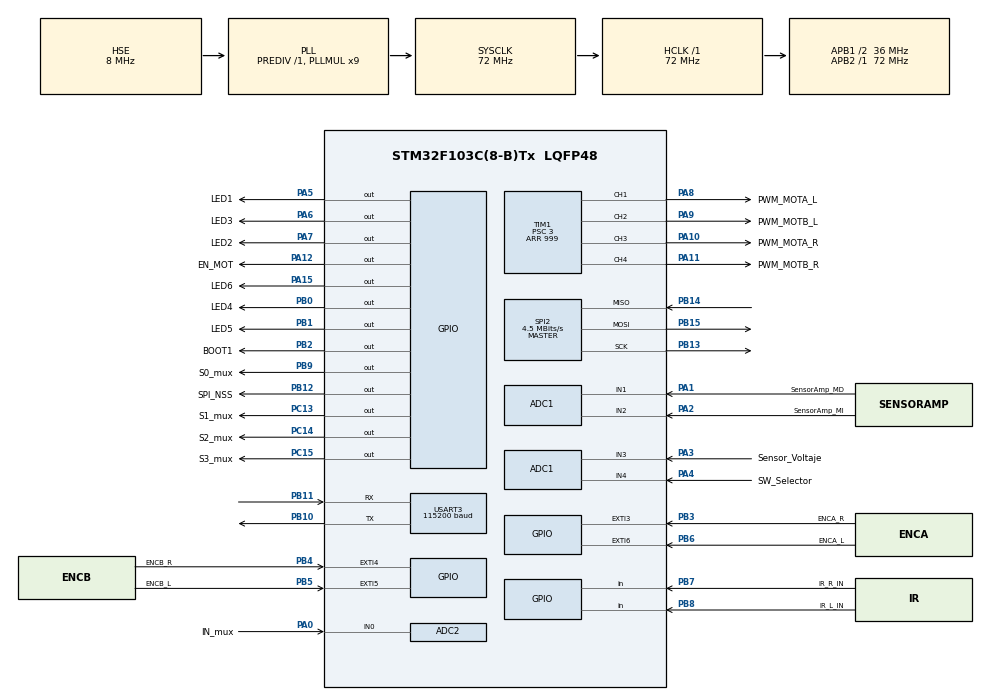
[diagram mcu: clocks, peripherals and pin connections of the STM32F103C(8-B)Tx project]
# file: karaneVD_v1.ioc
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ADC1.Channel-0\#ChannelRegularConversion=ADC_CHANNEL_1
ADC1.Channel-1\#ChannelRegularConversion=ADC_CHANNEL_2
ADC1.Channel-2\#ChannelRegularConversion=ADC_CHANNEL_3
ADC1.Channel-3\#ChannelRegularConversion=ADC_CHANNEL_4
ADC1.ContinuousConvMode=ENABLE
ADC1.ExternalTrigConv=ADC_EXTERNALTRIGCONV_T3_TRGO
ADC1.NbrOfConversion=4
ADC1.NbrOfConversionFlag=1
ADC1.Rank-0\#ChannelRegularConversion=1
ADC1.Rank-1\#ChannelRegularConversion=2
ADC1.Rank-2\#ChannelRegularConversion=3
ADC1.Rank-3\#ChannelRegularConversion=4
ADC1.SamplingTime-0\#ChannelRegularConversion=ADC_SAMPLETIME_55CYCLES_5
ADC1.SamplingTime-1\#ChannelRegularConversion=ADC_SAMPLETIME_55CYCLES_5
ADC1.SamplingTime-2\#ChannelRegularConversion=ADC_SAMPLETIME_55CYCLES_5
ADC1.SamplingTime-3\#ChannelRegularConversion=ADC_SAMPLETIME_55CYCLES_5
ADC1.master=1
ADC2.Channel-5\#ChannelRegularConversion=ADC_CHANNEL_0
ADC2.ContinuousConvMode=DISABLE
ADC2.ExternalTrigConv=ADC_SOFTWARE_START
ADC2.NbrOfConversionFlag=1
ADC2.Rank-5\#ChannelRegularConversion=1
ADC2.SamplingTime-5\#ChannelRegularConversion=ADC_SAMPLETIME_71CYCLES_5
Dma.ADC1.0.Direction=DMA_PERIPH_TO_MEMORY
Dma.ADC1.0.Instance=DMA1_Channel1
Dma.ADC1.0.MemDataAlignment=DMA_MDATAALIGN_WORD
Dma.ADC1.0.MemInc=DMA_MINC_ENABLE
Dma.ADC1.0.Mode=DMA_CIRCULAR
Dma.ADC1.0.PeriphDataAlignment=DMA_PDATAALIGN_WORD
Dma.ADC1.0.PeriphInc=DMA_PINC_DISABLE
Dma.ADC1.0.Priority=DMA_PRIORITY_LOW
Dma.Request0=ADC1
Mcu.Family=STM32F1
Mcu.Name=STM32F103C(8-B)Tx
Mcu.Package=LQFP48
NVIC.ADC1_2_IRQn=true\:3\:0\:true\:false\:true\:true\:true\:true
NVIC.DMA1_Channel1_IRQn=true\:2\:0\:true\:false\:true\:false\:true\:true
NVIC.EXTI3_IRQn=true\:0\:0\:false\:false\:true\:true\:true\:true
NVIC.EXTI4_IRQn=true\:0\:0\:false\:false\:true\:true\:true\:true
NVIC.EXTI9_5_IRQn=true\:0\:0\:false\:false\:true\:true\:true\:true
NVIC.PriorityGroup=NVIC_PRIORITYGROUP_4
NVIC.TIM3_IRQn=true\:1\:0\:true\:false\:true\:true\:true\:true
PA0-WKUP.GPIO_Label=IN_mux
PA0-WKUP.Signal=ADCx_IN0
PA1.GPIO_Label=SensorAmp_MD
PA1.Signal=ADCx_IN1
PA10.GPIO_Label=PWM_MOTA_R
PA10.Signal=S_TIM1_CH3
PA11.GPIO_Label=PWM_MOTB_R
PA11.Signal=S_TIM1_CH4
PA12.GPIO_Label=EN_MOT
PA12.Signal=GPIO_Output
PA13.Mode=Serial_Wire
PA13.Signal=SYS_JTMS-SWDIO
PA14.Mode=Serial_Wire
PA14.Signal=SYS_JTCK-SWCLK
PA15.GPIO_Label=LED6
PA15.PinState=GPIO_PIN_SET
PA15.Signal=GPIO_Output
PA2.GPIO_Label=SensorAmp_MI
PA2.Signal=ADCx_IN2
PA3.GPIO_Label=Sensor_Voltaje
PA3.Signal=ADCx_IN3
PA4.GPIO_Label=SW_Selector
PA4.Signal=ADCx_IN4
PA5.GPIO_Label=LED1
PA5.PinState=GPIO_PIN_SET
PA5.Signal=GPIO_Output
PA6.GPIO_Label=LED3
PA6.PinState=GPIO_PIN_SET
PA6.Signal=GPIO_Output
PA7.GPIO_Label=LED2
PA7.PinState=GPIO_PIN_SET
PA7.Signal=GPIO_Output
PA8.GPIO_Label=PWM_MOTA_L
PA8.Signal=S_TIM1_CH1
PA9.GPIO_Label=PWM_MOTB_L
PA9.Signal=S_TIM1_CH2
PB0.GPIO_Label=LED4
PB0.PinState=GPIO_PIN_SET
PB0.Signal=GPIO_Output
PB1.GPIO_Label=LED5
PB1.PinState=GPIO_PIN_SET
PB1.Signal=GPIO_Output
PB10.Mode=Asynchronous
PB10.Signal=USART3_TX
PB11.Mode=Asynchronous
PB11.Signal=USART3_RX
PB12.GPIO_Label=SPI_NSS
PB12.PinState=GPIO_PIN_SET
PB12.Signal=GPIO_Output
PB13.Mode=Full_Duplex_Master
PB13.Signal=SPI2_SCK
PB14.Mode=Full_Duplex_Master
PB14.Signal=SPI2_MISO
PB15.Mode=Full_Duplex_Master
PB15.Signal=SPI2_MOSI
PB2.GPIO_Label=BOOT1
PB2.Signal=GPIO_Output
PB3.GPIO_Label=ENCA_R
PB3.GPIO_ModeDefaultEXTI=GPIO_MODE_IT_RISING_FALLING
PB3.Signal=GPXTI3
PB4.GPIO_Label=ENCB_R
PB4.GPIO_ModeDefaultEXTI=GPIO_MODE_IT_RISING_FALLING
PB4.Signal=GPXTI4
PB5.GPIO_Label=ENCB_L
PB5.GPIO_ModeDefaultEXTI=GPIO_MODE_IT_RISING_FALLING
PB5.Signal=GPXTI5
PB6.GPIO_Label=ENCA_L
PB6.GPIO_ModeDefaultEXTI=GPIO_MODE_IT_RISING_FALLING
PB6.Signal=GPXTI6
PB7.GPIO_Label=IR_R_IN
PB7.Signal=GPIO_Input
PB8.GPIO_Label=IR_L_IN
PB8.Signal=GPIO_Input
PB9.GPIO_Label=S0_mux
PB9.Signal=GPIO_Output
PC13-TAMPER-RTC.GPIO_Label=S1_mux
PC13-TAMPER-RTC.Signal=GPIO_Output
PC14-OSC32_IN.GPIO_Label=S2_mux
PC14-OSC32_IN.Signal=GPIO_Output
PC15-OSC32_OUT.GPIO_Label=S3_mux
PC15-OSC32_OUT.Signal=GPIO_Output
PD0-OSC_IN.Mode=HSE-External-Oscillator
PD0-OSC_IN.Signal=RCC_OSC_IN
PD1-OSC_OUT.Mode=HSE-External-Oscillator
PD1-OSC_OUT.Signal=RCC_OSC_OUT
ProjectManager.HeapSize=0x200
ProjectManager.StackSize=0x400
ProjectManager.TargetToolchain=STM32CubeIDE
RCC.ADCPresc=RCC_ADCPCLK2_DIV6
RCC.AHBFreq_Value=72000000
RCC.APB1CLKDivider=RCC_HCLK_DIV2
RCC.APB1Freq_Value=36000000
RCC.APB1TimFreq_Value=72000000
RCC.APB2Freq_Value=72000000
RCC.APB2TimFreq_Value=72000000
RCC.HCLKFreq_Value=72000000
RCC.PLLMUL=RCC_PLL_MUL9
RCC.PLLSourceVirtual=RCC_PLLSOURCE_HSE
RCC.SYSCLKFreq_VALUE=72000000
RCC.SYSCLKSource=RCC_SYSCLKSOURCE_PLLCLK
RCC.USBFreq_Value=72000000
SH.ADCx_IN0.0=ADC2_IN0,IN0
SH.ADCx_IN1.0=ADC1_IN1,IN1
SH.ADCx_IN2.0=ADC1_IN2,IN2
SH.ADCx_IN3.0=ADC1_IN3,IN3
SH.ADCx_IN4.0=ADC1_IN4,IN4
SH.S_TIM1_CH1.0=TIM1_CH1,PWM Generation1 CH1
SH.S_TIM1_CH2.0=TIM1_CH2,PWM Generation2 CH2
SH.S_TIM1_CH3.0=TIM1_CH3,PWM Generation3 CH3
SH.S_TIM1_CH4.0=TIM1_CH4,PWM Generation4 CH4
SPI2.BaudRatePrescaler=SPI_BAUDRATEPRESCALER_8
SPI2.CalculateBaudRate=4.5 MBits/s
SPI2.Direction=SPI_DIRECTION_2LINES
SPI2.Mode=SPI_MODE_MASTER
SPI2.VirtualType=VM_MASTER
TIM1.Channel-PWM\ Generation1\ CH1=TIM_CHANNEL_1
TIM1.Channel-PWM\ Generation2\ CH2=TIM_CHANNEL_2
TIM1.Channel-PWM\ Generation3\ CH3=TIM_CHANNEL_3
TIM1.Channel-PWM\ Generation4\ CH4=TIM_CHANNEL_4
TIM1.Period=999
TIM1.Prescaler=3
TIM3.AutoReloadPreload=TIM_AUTORELOAD_PRELOAD_ENABLE
TIM3.Period=199
TIM3.Prescaler=71
USART3.BaudRate=115200
USART3.VirtualMode=VM_ASYNC
VP_TIM1_VS_ClockSourceINT.Mode=Internal
VP_TIM3_VS_ClockSourceINT.Mode=Internal
board=custom

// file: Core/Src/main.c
/* USER CODE BEGIN Header */
/**
  ******************************************************************************
  * @file           : main.c
  * @brief          : Main program body
  ******************************************************************************
  * @attention
  *
  * Copyright (c) 2025 STMicroelectronics.
  * All rights reserved.
  *
  * This software is licensed under terms that can be found in the LICENSE file
  * in the root directory of this software component.
  * If no LICENSE file comes with this software, it is provided AS-IS.
  *
  ******************************************************************************
  */
/* USER CODE END Header */
#include "main.h"
#include "adc.h"
#include "dma.h"
#include "spi.h"
#include "tim.h"
#include "usart.h"
#include "gpio.h"

/* USER CODE BEGIN Includes */
#include <string.h>
#include <stdio.h>
#include <math.h>
#include <stdbool.h>
#include "LIB_MPU6500_SPI.h"
#include "LIB_DEBUG.h"
#include "LIB_FUNCIONES.h"
#include "LIB_MENU.h"

#undef	DEBUG
#define DEBUG		0

#define	Delay_BTN	200		// Tiempo para verificar los ADC por DMA
#define Delay_LED	50		// Tiempo para apagar LEDs
#define	ADC_VREF	3.35
#define	Volt_Proteccion_Batt 	6.6
#define	Volt_Proteccion_current 3.1
#define PWM_offset 	200
#define	Linea_setpoint	500
#define Encoder_setpoint 40
#define NumSensores 16
/* USER CODE END Includes */

/* USER CODE BEGIN PD */

/* Se inicializan todas las estructuras a usar */

volatile odometria_init_t odometria={0.0,0.0,0.0,0.0,0,0};
MPU6500_Init_Values_t 	MPU6500_Datos;
MPU6500_Init_float_t	MPU6500_Values_float;
MPU6500_status_e	MPU6500_Status;
motores_init_t	MotorSeguidor={0,0,0,0,false};
const motores_init_t	MotorStop={0,0,0,0,false};
PID	Linea={2,0.0001,0.01,0,0,200,PWM_offset};
PID	PwmBaseML={16,2,0,200,PWM_offset-50};
PID	PwmBaseMR={18,5,0,200,PWM_offset-50};

/* Variables para los ADC */

uint32_t ADC_DMA[5];	//datos DMA
volatile uint16_t ADC_buffer[4]; //datos ya obtenidos y convertidos a 16bits
volatile uint8_t ValorBTN=0;
float ADC_Valores_Volt[4];

/* Variables para los encoders*/
const int8_t estadoTabla[16]={0,-1,1,0,1,0,0,-1,-1,0,0,1,0,1,-1,0}; //valor encoders de tabla de verdad
volatile uint8_t estadoAnterior_L=0;
volatile uint8_t estadoAnterior_R=0;
volatile int32_t actualTickMR,anteriorMR,deltaTicksMR,PeriodoTicksMR=0;
volatile int32_t actualTickML,anteriorML,deltaTicksML,PeriodoTicksML=0;

/* Variables para definir tiempo de espera */
uint32_t tiempoActual=0;
uint32_t tiempoAnterior=0;
uint32_t tiempoAnterior_LED=0;

bool	timeValid=false;

/*variables para Regleta de sensores*/

static uint8_t PosicionesSensores[16]={7,6,5,4,3,2,1,0,8,9,10,11,12,13,14,15};
volatile uint8_t 	MuxSel=0;
volatile uint16_t 	RegletaSensores[16]={0};
volatile int UltimaPosicion	=500;				// var donde se almacenara la posicion en la linea
volatile unsigned long sumaPonderada = 0;
volatile unsigned long sumaLecturas = 0;
volatile long valor=0;
volatile unsigned long peso=0;

float fR=PWM_offset;
float fL=PWM_offset;
float PID_linea=0;

/*Timers para funciones*/
volatile bool		enableLoop=false;
volatile bool		Timer_PID1=false;
volatile bool		Timer_PID2=false;
volatile bool		Timer_DEBUG=false;
volatile uint16_t	ContadorTimDMA_PID1=0;
volatile uint16_t	ContadorTimPID2=0;
volatile uint16_t	ContadorTimerDEBUG=0;

/* USER CODE END PD */

void SystemClock_Config(void);

/* USER CODE BEGIN 0 */

void HAL_ADC_ConvCpltCallback(ADC_HandleTypeDef* hadc)
{
	if(hadc->Instance==ADC1)
	{
		ADC_buffer[0]=(uint16_t)ADC_DMA[0];
		ADC_buffer[1]=(uint16_t)ADC_DMA[1];
		ADC_buffer[2]=(uint16_t)ADC_DMA[2];
		ADC_buffer[3]=(uint16_t)ADC_DMA[3];

		/*filtramos el boton pulsado en un rango*/
		if(ADC_buffer[3]>3800 && ADC_buffer[3]<4100)
		{
			ValorBTN=BTN_DERECHA;
		}
		else if(ADC_buffer[3]>2000 && ADC_buffer[3]<2300)
				{
					ValorBTN=BTN_IZQUIERDA;
				}
		else if(ADC_buffer[3]>2400 && ADC_buffer[3]<2900)
				{
					ValorBTN=BTN_ACEPTAR;
				}
	}

	if(hadc->Instance==ADC2)
	{
		RegletaSensores[MuxSel] =(uint16_t) HAL_ADC_GetValue(hadc); // Lee el resultado

		if(MuxSel<16)
			{
			valor = RegletaSensores[MuxSel];
			// Se realizara una media ponderada normalizada entre 0-1000 donde 0 es iquierda y 1000 derecha
			// Umbral de ruido: 10% del valor máximo (4095 * 0.1 = 409)
			if (valor > 409) {
				// Peso del sensor (de 0 a 1000)
				peso = (MuxSel * 1000L) / (NumSensores - 1);
				sumaPonderada += peso * valor;
				sumaLecturas += valor;
				}
			MuxSel++;
			}
		else{

						UltimaPosicion = (int)(sumaPonderada / sumaLecturas);
						MuxSel=0;
						sumaLecturas=0;
						sumaPonderada=0;
						peso=0;
						valor=0;
			}
		HAL_GPIO_WritePin(S0_mux_GPIO_Port, S0_mux_Pin, (PosicionesSensores[MuxSel]&1));
		HAL_GPIO_WritePin(S1_mux_GPIO_Port, S1_mux_Pin, (PosicionesSensores[MuxSel]&2)>>1);
		HAL_GPIO_WritePin(S2_mux_GPIO_Port, S2_mux_Pin, (PosicionesSensores[MuxSel]&4)>>2);
		HAL_GPIO_WritePin(S3_mux_GPIO_Port, S3_mux_Pin, (PosicionesSensores[MuxSel]&8)>>3);
		//HAL_ADC_Start_IT(hadc);
	}

}
void HAL_GPIO_EXTI_Callback(uint16_t GPIO_Pin)
{
		/*
		 * Se leen los enconder con tabla de verdad para sumar o restar cada uno respectivamente
		 * estadoTabla[16]={0,-1,1,0,1,0,0,-1,-1,0,0,1,0,1,-1,0}
		 * se niega un lado debido a la conexion que tiene
		 */
	if(GPIO_Pin==ENCA_L_Pin||GPIO_Pin==ENCB_L_Pin)
		{
		uint8_t bitStatusL=((HAL_GPIO_ReadPin(ENCA_L_GPIO_Port, ENCA_L_Pin))?2:0) | ((HAL_GPIO_ReadPin(ENCB_L_GPIO_Port, ENCB_L_Pin))?1:0);
		odometria.ticks_L+=estadoTabla[((estadoAnterior_L<<2)|bitStatusL)];
		estadoAnterior_L=bitStatusL;
		}
	if(GPIO_Pin==ENCA_R_Pin||GPIO_Pin==ENCB_R_Pin)
		{
		uint8_t bitStatusR=((HAL_GPIO_ReadPin(ENCA_R_GPIO_Port, ENCA_R_Pin))?2:0) | ((HAL_GPIO_ReadPin(ENCB_R_GPIO_Port, ENCB_R_Pin))?1:0);
		odometria.ticks_R+=(-estadoTabla[((estadoAnterior_R<<2)|bitStatusR)]);
		estadoAnterior_R=bitStatusR;
		}
}
void HAL_TIM_PeriodElapsedCallback(TIM_HandleTypeDef *htim) {
   if (htim->Instance == TIM3) {
	   /*	Timer3 a 200us preescaler de 71 y cnt 199
	    *	Iniciamos conversion del adc
	    *	(se podria mejorar probando tiempo mas cortos)
	    */
	   if(enableLoop)
	   {
	   HAL_ADC_Start_IT(&hadc2);

	   ContadorTimDMA_PID1++;
	   ContadorTimPID2++;
	   ContadorTimerDEBUG++;
        if(ContadorTimDMA_PID1>5)
        {
        	actualTickML=odometria.ticks_L;
			actualTickMR=odometria.ticks_R;

			deltaTicksML=actualTickML-anteriorML;
			deltaTicksMR=actualTickMR-anteriorMR;

			anteriorML=actualTickML;
			anteriorMR=actualTickMR;

			PeriodoTicksML+=deltaTicksML;
			PeriodoTicksMR+=deltaTicksMR;

        	Timer_PID1=true;
        	ContadorTimDMA_PID1=0;
        }
        if(ContadorTimPID2>100)
        {
        	Timer_PID2=true;
        	ContadorTimPID2=0;
        }
        if(ContadorTimerDEBUG>500)
		{
			Timer_DEBUG=true;
			ContadorTimerDEBUG=0;
		}
	   }

    }
}

/* USER CODE END 0 */

int main(void)
{

  /* MCU Configuration--------------------------------------------------------*/

  /* Reset of all peripherals, Initializes the Flash interface and the Systick. */
  HAL_Init();

  /* Configure the system clock */
  SystemClock_Config();

  /* Initialize all configured peripherals */
  MX_GPIO_Init();
  MX_DMA_Init();
  MX_ADC1_Init();
  MX_SPI2_Init();
  MX_USART3_UART_Init();
  MX_TIM1_Init();
  MX_ADC2_Init();
  MX_TIM3_Init();
  /* USER CODE BEGIN 2 */

  MPU6500_Status=MPU6500_Init(&MPU6500_Datos,10,DPS1000,G4);
  if (MPU6500_Status==MPU6500_fail) {
  	for (;;) {
  		DEBUG_Imprimir("Fallo al iniciar MPU\r\n");
  		Menu_LED(Aviso_fallo);
  		}
  }
  DEBUG_Imprimir("Exito al iniciar MPU\r\n");
  Menu_LED(Aviso_ok);
  HAL_Delay(1000);
  Menu_LED(Apagar_LED);
 HAL_TIM_PWM_Start(&htim1, TIM_CHANNEL_1);
 HAL_TIM_PWM_Start(&htim1, TIM_CHANNEL_2);
 HAL_TIM_PWM_Start(&htim1, TIM_CHANNEL_3);
 HAL_TIM_PWM_Start(&htim1, TIM_CHANNEL_4);
 MotorSeguidor=MotorStop;
 __HAL_TIM_MOE_ENABLE(&htim1);

 HAL_ADC_Start_DMA(&hadc1, &ADC_DMA[0], 4);
 HAL_ADC_Start_IT(&hadc1);
 HAL_TIM_Base_Start_IT(&htim3);

 MotorSeguidor.enable_PWM=true;
 /*esto deberia ir en una funciona para cuando se inicie dar un escalonado*/
 for(uint16_t var=0;var<PWM_offset;var+=20)
 	{
	 MotorSeguidor.pwmLA=(uint16_t)var;
	 MotorSeguidor.pwmRA=(uint16_t)var;
	 funcion_motores(&MotorSeguidor);
	 HAL_Delay(50);
 	}

//int32_t b=0;

enableLoop=true;

  /* USER CODE END 2 */

  /* Infinite loop */
  /* USER CODE BEGIN WHILE */
  while (1)
  {
	  if(Timer_DEBUG)
	  {
		  	char buffer[30];
		  		sprintf(buffer,"pid %0.2f",PID_linea);
		  		HAL_UART_Transmit(&huart3, (uint8_t *)buffer, strlen(buffer), 1);
		  		/*		sprintf(buffer," pid %d ",UltimaPosicion);
		  				HAL_UART_Transmit(&huart3, (uint8_t *)buffer, strlen(buffer), 1);
*/
		DEBUG_RegletaSensores(UltimaPosicion);
		//DEBUG_IMU_Conv(MPU6500_Values_float.MPU6500_floatAX,MPU6500_Values_float.MPU6500_floatAY,MPU6500_Values_float.MPU6500_floatAZ,MPU6500_Values_float.MPU6500_floatGX,MPU6500_Values_float.MPU6500_floatGY,MPU6500_Values_float.MPU6500_floatGZ);
		//DEBUG_ADC_Value(ADC_Valores_Volt[0], ADC_Valores_Volt[1], ADC_Valores_Volt[2], ADC_Valores_Volt[3]);
		//DEBUG_Encoders(odometria.ticks_L, odometria.ticks_R, 0);

		Timer_DEBUG=false;
	  }
    /* USER CODE END WHILE */

    /* USER CODE BEGIN 3 */

	  /*
	   * Aca se realizar el primer PID cada 1ms para los motores
	   * como tambien la lectura de DMA como su inicializacion
	   */

	  if (Timer_PID1) {
			/*obtenemos el voltaje*/
			ADC_Valores_Volt[0]=(ADC_VREF*ADC_buffer[0])/4095;
			ADC_Valores_Volt[1]=(ADC_VREF*ADC_buffer[1])/4095;
			ADC_Valores_Volt[2]=(ADC_VREF*ADC_buffer[2])/4095;
			ADC_Valores_Volt[2]=ADC_Valores_Volt[2]*3.2;
			ADC_Valores_Volt[3]=(ADC_VREF*ADC_buffer[3])/4095;

			/*
			 * Antes del pid se revisa los sistemas de bloqueo por bateria baja o
			 * motores por sobrecarga
			 */
			/*if(ADC_Valores_Volt[0]>Volt_Proteccion_current && PeriodoTicksMR<5){
				HAL_GPIO_WritePin(LED1_GPIO_Port, LED1_Pin, GPIO_PIN_RESET);
				MotorSeguidor.enable_PWM=false;
			}
			if(ADC_Valores_Volt[1]>Volt_Proteccion_current && PeriodoTicksML<5){
				HAL_GPIO_WritePin(LED1_GPIO_Port, LED1_Pin, GPIO_PIN_RESET);
				MotorSeguidor.enable_PWM=false;
			}*/
			if(ADC_Valores_Volt[2]<Volt_Proteccion_Batt ){
				MotorSeguidor.enable_PWM=false;
				HAL_GPIO_WritePin(LED1_GPIO_Port, LED1_Pin, GPIO_PIN_RESET);
			}

			/* PID sumamos a MR y restamos a MI*/
			PID_linea=funcion_calcularPID(&Linea, Linea_setpoint, UltimaPosicion, 0.002f);

			float PIDTotalMR=PWM_offset+fR+PID_linea;//fR;
			float PIDTotalML=PWM_offset+fL-PID_linea;//fL;

			if(PIDTotalMR>(950))PIDTotalMR=950;
			if(PIDTotalML>(950))PIDTotalML=950;

			if(PIDTotalMR<20)PIDTotalMR=20;
			if(PIDTotalMR<20)PIDTotalMR=20;

			MotorSeguidor.pwmRA=(uint16_t)(PIDTotalMR);
			MotorSeguidor.pwmLA=(uint16_t)(PIDTotalML);

			funcion_motores(&MotorSeguidor);

			HAL_ADC_Start_IT(&hadc1);	// iniciamos conversion ADC por DMA
			Timer_PID1=false;		// Siempre limpiar bandera si no nunca entre o entrara siempre
		}
	  if(Timer_PID2)
	  {

		  	fL=funcion_calcularPID(&PwmBaseML, Encoder_setpoint, PeriodoTicksML, 0.02f);
		  	fR=funcion_calcularPID(&PwmBaseMR, Encoder_setpoint, PeriodoTicksMR, 0.02f);
		  	//a=PeriodoTicksMR;
		  	//b=PeriodoTicksML;

		  	PeriodoTicksML=0;
		  	PeriodoTicksMR=0;

		MPU6500_Read(&MPU6500_Datos);
		MPU6500_Values_float=MPU6500_Converter(&MPU6500_Datos, DPS1000_CONV, G4_CONV);
		Timer_PID2=false;		// Siempre limpiar bandera si no nunca entre o entrara siempre
	  }

	  /*
	   * Obtenido el valor del BTN y siempre distinto a 0
	   * si entra a la funcion se genera un delay de tiempo para apagar los leds
	   * */
	  tiempoActual=HAL_GetTick();
	  if(ValorBTN!=0)
	  {
		  Menu_LED(Apagar_LED);
		  timeValid=Menu_Navegacion(ValorBTN);
		  ValorBTN=0;	// Se reetablece valor para evitar que vuelva a entrar
		  tiempoAnterior_LED=HAL_GetTick();
	  }
	  if(timeValid==true)
	  {
		  tiempoActual=HAL_GetTick();
		  if ((tiempoActual-tiempoAnterior_LED)>Delay_LED) {
		  		timeValid=false;
		  		Menu_LED(estadoLED);
		  		}
	  }

			  /* Aca se ejecutara el codigo si se dio aceptar y dependiendo el menu donde este*/
			  if(Menu_Ejecucion()==true)
			  {
				  switch (Menu_Global) {
						case Opcion_Iniciar_CodigoA:
							break;
						case Opcion_Calibracion_Sensores:
							break;
						case Opcion_Calibracion_X:
							break;
						case Opcion_Configuracion_PID_1:
							break;
						case Opcion_Configuracion_PID_2:
							break;
						case Opcion_Guardar:
							break;
						default:
							break;
									  }

			  }
  }
  /* USER CODE END 3 */
}

void SystemClock_Config(void)
{
  RCC_OscInitTypeDef RCC_OscInitStruct = {0};
  RCC_ClkInitTypeDef RCC_ClkInitStruct = {0};
  RCC_PeriphCLKInitTypeDef PeriphClkInit = {0};

  /** Initializes the RCC Oscillators according to the specified parameters
  * in the RCC_OscInitTypeDef structure.
  */
  RCC_OscInitStruct.OscillatorType = RCC_OSCILLATORTYPE_HSE;
  RCC_OscInitStruct.HSEState = RCC_HSE_ON;
  RCC_OscInitStruct.HSEPredivValue = RCC_HSE_PREDIV_DIV1;
  RCC_OscInitStruct.HSIState = RCC_HSI_ON;
  RCC_OscInitStruct.PLL.PLLState = RCC_PLL_ON;
  RCC_OscInitStruct.PLL.PLLSource = RCC_PLLSOURCE_HSE;
  RCC_OscInitStruct.PLL.PLLMUL = RCC_PLL_MUL9;
  if (HAL_RCC_OscConfig(&RCC_OscInitStruct) != HAL_OK)
  {
    Error_Handler();
  }

  /** Initializes the CPU, AHB and APB buses clocks
  */
  RCC_ClkInitStruct.ClockType = RCC_CLOCKTYPE_HCLK|RCC_CLOCKTYPE_SYSCLK
                              |RCC_CLOCKTYPE_PCLK1|RCC_CLOCKTYPE_PCLK2;
  RCC_ClkInitStruct.SYSCLKSource = RCC_SYSCLKSOURCE_PLLCLK;
  RCC_ClkInitStruct.AHBCLKDivider = RCC_SYSCLK_DIV1;
  RCC_ClkInitStruct.APB1CLKDivider = RCC_HCLK_DIV2;
  RCC_ClkInitStruct.APB2CLKDivider = RCC_HCLK_DIV1;

  if (HAL_RCC_ClockConfig(&RCC_ClkInitStruct, FLASH_LATENCY_2) != HAL_OK)
  {
    Error_Handler();
  }
  PeriphClkInit.PeriphClockSelection = RCC_PERIPHCLK_ADC;
  PeriphClkInit.AdcClockSelection = RCC_ADCPCLK2_DIV6;
  if (HAL_RCCEx_PeriphCLKConfig(&PeriphClkInit) != HAL_OK)
  {
    Error_Handler();
  }
}

void Error_Handler(void)
{
  __disable_irq();
  while (1)
  {
  }
}
